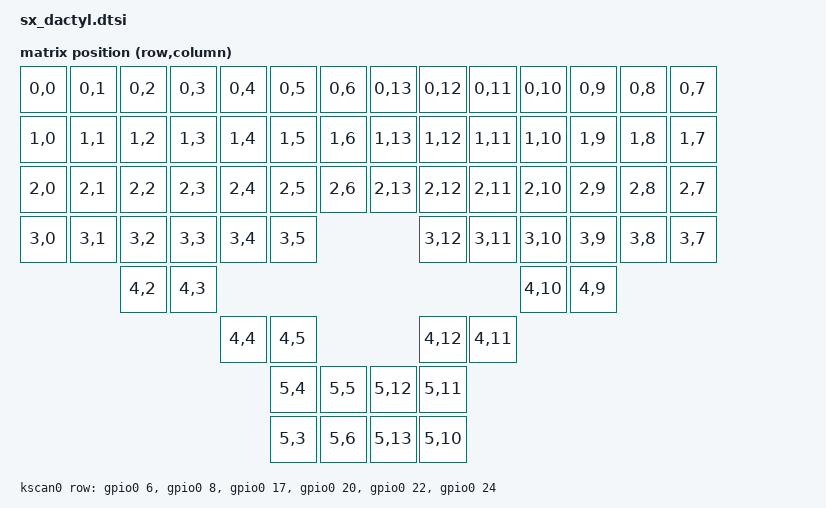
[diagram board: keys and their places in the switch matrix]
#include <dt-bindings/zmk/matrix_transform.h>
#include <physical_layouts.dtsi>
#include "SX_DACTYL_layouts.dtsi"

/ {
    chosen {
        zmk,physical-layout = &physical_layout0;
        // Other chosen items
    };
};

/ {
    chosen {
        zmk,kscan = &kscan0;
        zmk,physical-layouts = &dactyl_layout;
    };

    default_transform: keymap_transform_0 {
        compatible = "zmk,matrix-transform";
        columns = <14>;
        rows = <6>;
// | LK1  | LK2  | LK3  | LK4  | LK5  | LK6  | LK7  |   | RK7  | RK6  | RK5  | RK4  | RK3  | RK2  | RK1  |
// | LK8  | LK9  | LK10 | LK11 | LK12 | LK13 | LK14 |   | RK14 | RK13 | RK12 | RK11 | RK10 | RK9  | RK8  |
// | LK15 | LK16 | LK17 | LK18 | LK19 | LK20 | LK21 |   | RK21 | RK20 | RK19 | RK18 | RK17 | RK16 | RK15 |
// | LK22 | LK23 | LK24 | LK25 | LK26 | LK27 |                 | RK27 | RK26 | RK25 | RK24 | RK23 | RK22 |
//               | LK28 | LK29 |                                             | RK29 | RK28 |
//                             | LK30 | LK31 |                 | RK31 | RK30 |
//                                    | LK32 | LK33 |   | RK33 | RK32 |
//                                    | LK34 | LK35 |   | RK35 | RK34 |

        map = <
RC(0,0) RC(0,1) RC(0,2) RC(0,3) RC(0,4) RC(0,5) RC(0,6)    RC(0,13) RC(0,12) RC(0,11) RC(0,10) RC(0,9) RC(0,8) RC(0,7)
RC(1,0) RC(1,1) RC(1,2) RC(1,3) RC(1,4) RC(1,5) RC(1,6)    RC(1,13) RC(1,12) RC(1,11) RC(1,10) RC(1,9) RC(1,8) RC(1,7)
RC(2,0) RC(2,1) RC(2,2) RC(2,3) RC(2,4) RC(2,5) RC(2,6)    RC(2,13) RC(2,12) RC(2,11) RC(2,10) RC(2,9) RC(2,8) RC(2,7)
RC(3,0) RC(3,1) RC(3,2) RC(3,3) RC(3,4) RC(3,5)                     RC(3,12) RC(3,11) RC(3,10) RC(3,9) RC(3,8) RC(3,7)
                RC(4,2) RC(4,3)                                                       RC(4,10) RC(4,9)
                                RC(4,4) RC(4,5)                     RC(4,12) RC(4,11)
                                        RC(5,4) RC(5,5)    RC(5,12) RC(5,11)
                                        RC(5,3) RC(5,6)    RC(5,13) RC(5,10)
        >;
    };

    kscan0: kscan {
        compatible = "zmk,kscan-gpio-matrix";
        label = "KSCAN";

        diode-direction = "col2row";
        row-gpios
            = <&gpio0 6 (GPIO_ACTIVE_HIGH | GPIO_PULL_DOWN)>
            , <&gpio0 8 (GPIO_ACTIVE_HIGH | GPIO_PULL_DOWN)>
            , <&gpio0 17 (GPIO_ACTIVE_HIGH | GPIO_PULL_DOWN)>
            , <&gpio0 20 (GPIO_ACTIVE_HIGH | GPIO_PULL_DOWN)>
            , <&gpio0 22 (GPIO_ACTIVE_HIGH | GPIO_PULL_DOWN)>
            , <&gpio0 24 (GPIO_ACTIVE_HIGH | GPIO_PULL_DOWN)>
            ;

    };
};

&dactyl_layout{

	transform = <&default_transform>;

	kscan = <&kscan0>;

};



zephyr_udc0: &usbd { 

    compatible = "nordic,nrf-usbd"; 

    status = "okay"; 

};

